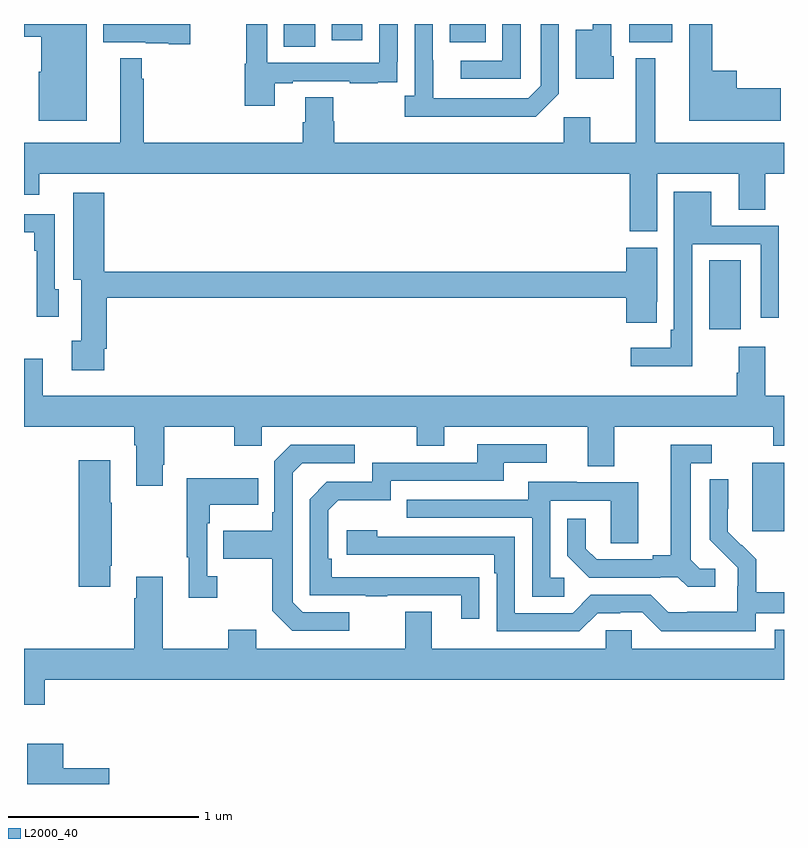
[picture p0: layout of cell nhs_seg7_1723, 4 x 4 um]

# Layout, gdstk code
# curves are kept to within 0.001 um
import gdstk
lib = gdstk.Library(unit=1e-6, precision=1e-09)
def R(c, l, rs):  # rectangles x0, y0, x1, y1
    for r in rs: c.add(gdstk.rectangle(r[:2], r[2:], *l))
def P(c, l, *ps):  # polygons
    for p in ps: c.add(gdstk.Polygon(p, *l))
L2000_40 = (2000, 40)

nhs_seg7_1723 = lib.new_cell('nhs_seg7_1723')
R(nhs_seg7_1723, L2000_40, [(230.834,1069.329,231,1069.69), (230.606,1070.394,230.773,1070.756), (228.368,1071.88,228.532,1072), (229.241,1071.905,229.429,1072), (230.186,1071.905,230.413,1072), (228.62,1071.915,228.781,1072)])
P(nhs_seg7_1723, L2000_40, [(230.104,1071.831),(230.091,1071.831),(230.091,1072),(229.994,1072),(229.994,1071.97),(229.904,1071.97),(229.904,1071.713),(230.104,1071.713)],
  [(228.319,1071.687),(228.415,1071.687),(228.415,1071.699),(228.715,1071.699),(228.715,1071.687),(228.863,1071.687),(228.863,1071.693),(228.965,1071.693),(228.965,1071.802),(228.966,1071.802),(228.966,1072),(228.87,1072),(228.87,1071.795),(228.279,1071.795),(228.279,1072),(228.171,1072),(228.171,1071.792),(228.163,1071.792),(228.163,1071.57),(228.319,1071.57)],
  [(229.815,1071.633),(229.815,1072),(229.719,1072),(229.719,1071.675),(229.653,1071.609),(229.153,1071.609),(229.152,1072),(229.056,1072),(229.056,1071.622),(229.005,1071.622),(229.005,1071.512),(229.694,1071.512)],
  [(230.983,1071.662),(230.752,1071.662),(230.752,1071.754),(230.623,1071.754),(230.623,1072),(230.501,1072),(230.501,1071.491),(230.983,1071.491)],
  [(229.614,1072),(229.518,1072),(229.518,1071.807),(229.299,1071.807),(229.299,1071.711),(229.614,1071.711)],
  [(227.875,1072),(227.417,1072),(227.417,1071.905),(227.64,1071.905),(227.64,1071.899),(227.762,1071.899),(227.762,1071.893),(227.875,1071.893)],
  [(227.329,1072),(227,1072),(227,1071.932),(227.09,1071.932),(227.09,1071.75),(227.078,1071.75),(227.078,1071.491),(227.329,1071.491)],
  [(230.332,1071.212),(230.762,1071.212),(230.762,1071.022),(230.902,1071.022),(230.902,1071.212),(231,1071.212),(231,1071.376),(230.323,1071.376),(230.323,1071.82),(230.219,1071.82),(230.219,1071.376),(229.981,1071.376),(229.981,1071.508),(229.842,1071.508),(229.842,1071.376),(228.632,1071.376),(228.632,1071.489),(228.627,1071.489),(228.627,1071.614),(228.479,1071.614),(228.479,1071.482),(228.467,1071.482),(228.467,1071.376),(227.629,1071.376),(227.629,1071.713),(227.621,1071.713),(227.621,1071.82),(227.507,1071.82),(227.507,1071.376),(227,1071.376),(227,1071.102),(227.08,1071.102),(227.08,1071.212),(230.189,1071.212),(230.189,1070.908),(230.332,1070.908)],
  [(230.517,1070.841),(230.877,1070.841),(230.877,1070.454),(230.973,1070.454),(230.973,1070.937),(230.617,1070.937),(230.617,1071.118),(230.421,1071.118),(230.421,1070.392),(230.405,1070.392),(230.405,1070.296),(230.193,1070.296),(230.193,1070.198),(230.517,1070.198)],
  [(227.422,1070.29),(227.435,1070.29),(227.435,1070.56),(230.171,1070.56),(230.171,1070.427),(230.331,1070.427),(230.331,1070.539),(230.332,1070.539),(230.332,1070.823),(230.171,1070.823),(230.171,1070.696),(227.422,1070.696),(227.422,1071.112),(227.258,1071.112),(227.258,1070.654),(227.3,1070.654),(227.3,1070.334),(227.25,1070.334),(227.25,1070.178),(227.422,1070.178)],
  [(227.184,1070.604),(227.163,1070.604),(227.163,1071),(227,1071),(227,1070.903),(227.055,1070.903),(227.055,1070.807),(227.067,1070.807),(227.067,1070.46),(227.184,1070.46)],
  [(227.731,1069.681),(227.739,1069.681),(227.739,1069.88),(228.106,1069.88),(228.106,1069.781),(228.252,1069.781),(228.252,1069.88),(229.066,1069.88),(229.066,1069.781),(229.213,1069.781),(229.213,1069.88),(229.967,1069.88),(229.967,1069.672),(230.107,1069.672),(230.107,1069.88),(230.944,1069.88),(230.944,1069.781),(231,1069.781),(231,1070.044),(230.902,1070.044),(230.902,1070.302),(230.762,1070.302),(230.762,1070.165),(230.75,1070.165),(230.75,1070.044),(227.098,1070.044),(227.098,1070.239),(227,1070.239),(227,1069.88),(227.579,1069.88),(227.579,1069.784),(227.591,1069.784),(227.591,1069.569),(227.731,1069.569)],
  [(229.397,1069.088),(228.62,1069.089),(228.62,1069.186),(228.6,1069.186),(228.6,1069.44),(228.653,1069.493),(228.93,1069.493),(228.93,1069.596),(229.525,1069.596),(229.525,1069.692),(229.75,1069.692),(229.75,1069.788),(229.385,1069.788),(229.385,1069.692),(228.834,1069.692),(228.834,1069.59),(228.594,1069.59),(228.504,1069.5),(228.504,1068.993),(228.799,1068.993),(228.799,1068.988),(228.911,1068.988),(228.911,1068.993),(229.301,1068.993),(229.301,1068.87),(229.397,1068.87)],
  [(230.638,1069.134),(230.556,1069.134),(230.509,1069.181),(230.509,1069.689),(230.62,1069.689),(230.62,1069.785),(230.405,1069.785),(230.405,1069.205),(230.309,1069.205),(230.309,1069.182),(230.014,1069.182),(229.957,1069.239),(229.957,1069.396),(229.86,1069.396),(229.86,1069.202),(229.976,1069.086),(230.348,1069.086),(230.348,1069.089),(230.442,1069.089),(230.494,1069.037),(230.638,1069.037)],
  [(228.712,1068.903),(228.468,1068.903),(228.414,1068.957),(228.414,1069.638),(228.465,1069.689),(228.742,1069.689),(228.742,1069.785),(228.405,1069.785),(228.318,1069.698),(228.318,1069.429),(228.306,1069.429),(228.306,1069.333),(228.049,1069.333),(228.049,1069.186),(228.306,1069.186),(228.306,1068.913),(228.411,1068.807),(228.712,1068.807)],
  [(227.455,1069.15),(227.463,1069.15),(227.463,1069.481),(227.455,1069.481),(227.455,1069.705),(227.288,1069.705),(227.288,1069.038),(227.455,1069.038)],
  [(228.016,1069.094),(227.964,1069.094),(227.964,1069.373),(227.977,1069.373),(227.977,1069.469),(228.233,1069.469),(228.233,1069.609),(227.856,1069.609),(227.856,1069.193),(227.867,1069.193),(227.867,1068.981),(228.016,1068.981)],
  [(230.85,1068.9),(231,1068.9),(231,1069.009),(230.855,1069.009),(230.855,1069.183),(230.778,1069.26),(230.775,1069.257),(230.705,1069.328),(230.706,1069.604),(230.61,1069.604),(230.61,1069.286),(230.756,1069.138),(230.756,1069.041),(230.754,1069.041),(230.754,1068.907),(230.491,1068.907),(230.491,1068.903),(230.391,1068.903),(230.298,1068.996),(229.983,1068.996),(229.887,1068.9),(229.584,1068.9),(229.584,1069.302),(228.86,1069.302),(228.86,1069.336),(228.699,1069.336),(228.699,1069.206),(229.475,1069.206),(229.475,1069.109),(229.488,1069.109),(229.488,1068.804),(229.923,1068.804),(230.019,1068.9),(230.138,1068.9),(230.138,1068.903),(230.253,1068.903),(230.353,1068.803),(230.85,1068.803)],
  [(229.843,1069.086),(229.77,1069.086),(229.77,1069.491),(230.088,1069.491),(230.088,1069.267),(230.233,1069.267),(230.233,1069.587),(229.909,1069.587),(229.909,1069.591),(229.655,1069.591),(229.655,1069.497),(229.015,1069.497),(229.015,1069.401),(229.674,1069.401),(229.674,1068.985),(229.843,1068.985)],
  [(227.108,1068.548),(231,1068.548),(231,1068.811),(230.951,1068.811),(230.951,1068.712),(230.199,1068.712),(230.199,1068.81),(230.061,1068.81),(230.061,1068.712),(229.147,1068.712),(229.147,1068.907),(229.007,1068.907),(229.007,1068.712),(228.223,1068.712),(228.223,1068.811),(228.076,1068.811),(228.076,1068.712),(227.731,1068.712),(227.731,1069.09),(227.591,1069.09),(227.591,1068.977),(227.579,1068.977),(227.579,1068.712),(227,1068.712),(227,1068.417),(227.108,1068.417)],
  [(227.449,1068.084),(227.206,1068.084),(227.206,1068.211),(227.018,1068.211),(227.018,1068),(227.449,1068)])

lib.write_gds('nhs_seg7_1723.gds')
